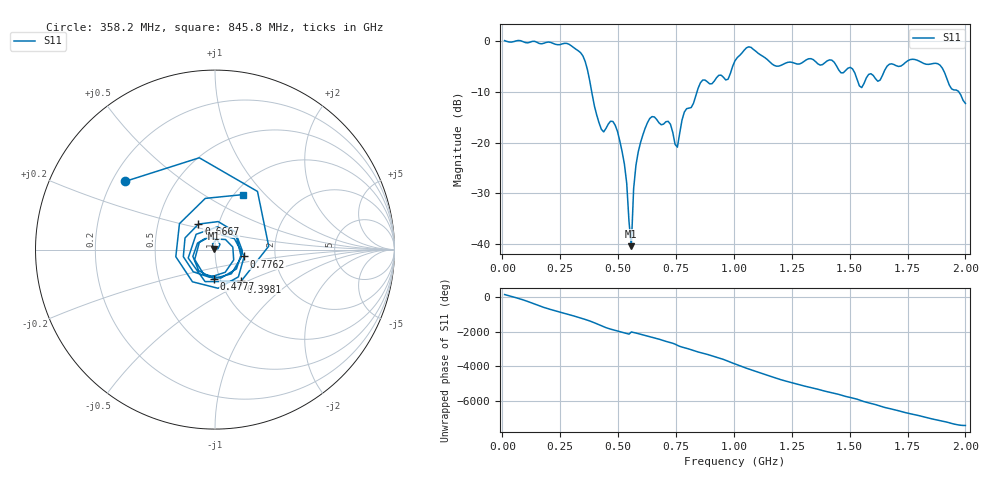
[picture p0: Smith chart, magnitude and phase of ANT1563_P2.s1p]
!Created with skrf (http://scikit-rf.org).
# Hz S RI R 50.0
!freq ReS11 ImS11
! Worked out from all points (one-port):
!   201 points, 10 MHz to 2 GHz, reference 50 ohm
!   lowest |S11| = -40.4 dB at 557.2 MHz (marker M1), VSWR 1.02, Z = 49.3 + j0.59 ohm
!   |S11| at or under -10 dB: 386.3 MHz to 840.8 MHz (454.5 MHz wide, 74.1 % of centre); 1.972 GHz to end of sweep
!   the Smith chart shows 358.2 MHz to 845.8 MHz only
!   S11 on the Smith chart (normalised r, x): 358.2 MHz: 0.25, +0.32; 398.1 MHz: 1.24, -0.47; 477.6 MHz: 0.94, -0.31; 666.7 MHz: 0.80, +0.23; 776.1 MHz: 1.38, -0.11; 845.8 MHz: 1.10, +0.76
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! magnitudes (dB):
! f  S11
! 10 MHz  0.1
! 258.8 MHz  -0.5
! 358.2 MHz  -4.0
! 398.1 MHz  -12.8
! 437.9 MHz  -17.9
! 477.6 MHz  -15.8
! 507.5 MHz  -19.7
! 537.4 MHz  -28.0
! 557.2 MHz  -40.4
! 567.2 MHz  -29.1
! 587.1 MHz  -21.8
! 636.9 MHz  -15.2
! 666.7 MHz  -15.4
! 726.4 MHz  -16.4
! 756.2 MHz  -20.9
! 776.1 MHz  -15.5
! 845.8 MHz  -9.3
! 975.1 MHz  -7.5
! 1.005 GHz  -3.8
! 1.065 GHz  -1.1
! 1.174 GHz  -4.8
! 1.254 GHz  -4.2
! 1.502 GHz  -5.2
! 1.552 GHz  -9.1
! 1.582 GHz  -6.5
! 1.751 GHz  -3.8
! 1.891 GHz  -4.7
! 2 GHz  -12.3
